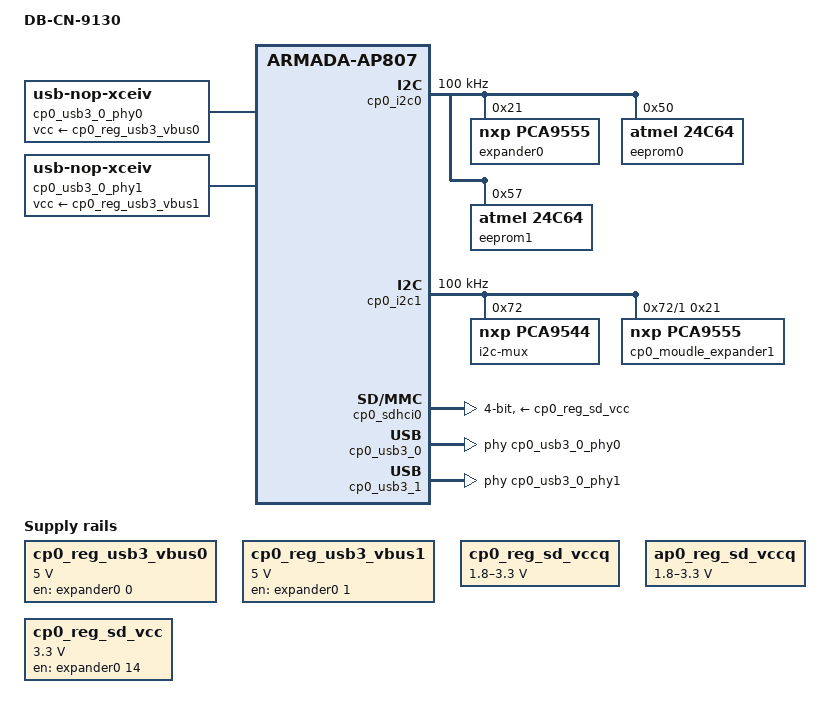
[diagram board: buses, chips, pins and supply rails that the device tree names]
// SPDX-License-Identifier: GPL-2.0+
/*
 * Copyright (C) 2018 Marvell International Ltd.
 */

#define GPIO_ACTIVE_HIGH 0
#define GPIO_ACTIVE_LOW  1

#include "cn9130.dtsi" /* include SoC device tree */

/ {
        model = "DB-CN-9130";
        compatible = "marvell,cn9130", "marvell,armada-ap807-quad",
                     "marvell,armada-ap807";

        cp0_reg_usb3_vbus0: cp0_usb3_vbus@0 {
                compatible = "regulator-fixed";
                regulator-name = "cp0-xhci0-vbus";
                regulator-min-microvolt = <5000000>;
                regulator-max-microvolt = <5000000>;
                enable-active-high;
                gpio = <&expander0 0 GPIO_ACTIVE_HIGH>;
        };

        cp0_usb3_0_phy0: cp0_usb3_phy0 {
                compatible = "usb-nop-xceiv";
                vcc-supply = <&cp0_reg_usb3_vbus0>;
        };

        cp0_reg_usb3_vbus1: cp0_usb3_vbus@1 {
                compatible = "regulator-fixed";
                regulator-name = "cp0-xhci1-vbus";
                regulator-min-microvolt = <5000000>;
                regulator-max-microvolt = <5000000>;
                enable-active-high;
                gpio = <&expander0 1 GPIO_ACTIVE_HIGH>;
        };

        cp0_usb3_0_phy1: cp0_usb3_phy1 {
                compatible = "usb-nop-xceiv";
                vcc-supply = <&cp0_reg_usb3_vbus1>;
        };

        cp0_reg_sd_vccq: cp0_sd_vccq@0 {
                compatible = "regulator-gpio";
                regulator-name = "cp0_sd_vccq";
                regulator-min-microvolt = <1800000>;
                regulator-max-microvolt = <3300000>;
                gpios = <&expander0 15 GPIO_ACTIVE_HIGH>;
                states = <1800000 0x1
                          3300000 0x0>;
        };

        ap0_reg_sd_vccq: ap0_sd_vccq@0 {
                compatible = "regulator-gpio";
                regulator-name = "ap0_sd_vccq";
                regulator-min-microvolt = <1800000>;
                regulator-max-microvolt = <3300000>;
                gpios = <&expander0 8 GPIO_ACTIVE_HIGH>;
                states = <1800000 0x1
                          3300000 0x0>;
        };

        cp0_reg_sd_vcc: cp0_sd_vcc@0 {
                compatible = "regulator-fixed";
                regulator-name = "cp0_sd_vcc";
                regulator-min-microvolt = <3300000>;
                regulator-max-microvolt = <3300000>;
                gpio = <&expander0 14 GPIO_ACTIVE_HIGH>;
                enable-active-high;
                regulator-always-on;
        };

        cp0_sfp_eth0: sfp-eth0 {
                compatible = "sff,sfp";
                i2c-bus = <&cp0_sfpp0_i2c>;
                los-gpio = <&cp0_moudle_expander1 11 GPIO_ACTIVE_HIGH>;
                mod-def0-gpio = <&cp0_moudle_expander1 10 GPIO_ACTIVE_LOW>;
                tx-disable-gpio = <&cp0_moudle_expander1 9 GPIO_ACTIVE_HIGH>;
                tx-fault-gpio = <&cp0_moudle_expander1 8 GPIO_ACTIVE_HIGH>;
                status = "disabled";
        };
};

/*
 * CP0
 */
&cp0_i2c0 {
        clock-frequency = <100000>;

        /* U36 */
        expander0: pca953x@21 {
                compatible = "nxp,pca9555";
                pinctrl-names = "default";
                gpio-controller;
                #gpio-cells = <2>;
                reg = <0x21>;
                status = "okay";
        };

        /* U42 */
        eeprom0: eeprom@50 {
                compatible = "atmel,24c64";
                reg = <0x50>;
                pagesize = <0x20>;
        };

        /* U38 */
        eeprom1: eeprom@57 {
                compatible = "atmel,24c64";
                reg = <0x57>;
                pagesize = <0x20>;
        };
};

&cp0_i2c1 {
        clock-frequency = <100000>;

        /* SLM-1521-V2 - U3 */
        i2c-mux@72 { /* verify address - depends on dpr */
                compatible = "nxp,pca9544";
                #address-cells = <1>;
                #size-cells = <0>;
                reg = <0x72>;
                cp0_sfpp0_i2c: i2c@0 {
                        #address-cells = <1>;
                        #size-cells = <0>;
                        reg = <0>;
                };

                i2c@1 {
                        #address-cells = <1>;
                        #size-cells = <0>;
                        reg = <1>;
                        /* U12 */
                        cp0_moudle_expander1: pca9555@21 {
                                compatible = "nxp,pca9555";
                                pinctrl-names = "default";
                                gpio-controller;
                                #gpio-cells = <2>;
                                reg = <0x21>;
                        };

                };
        };
};


&cp0_sdhci0 {
        pinctrl-names = "default";
        pinctrl-0 = <&cp0_sdhci_pins>;
        bus-width = <4>;
        no-1-8-v;
        vqmmc-supply = <&cp0_reg_sd_vccq>;
        vmmc-supply = <&cp0_reg_sd_vcc>;
};

&cp0_usb3_0 {
        status = "okay";
        usb-phy = <&cp0_usb3_0_phy0>;
        phy-names = "usb";
};

&cp0_usb3_1 {
        status = "okay";
        usb-phy = <&cp0_usb3_0_phy1>;
        phy-names = "usb";
};
